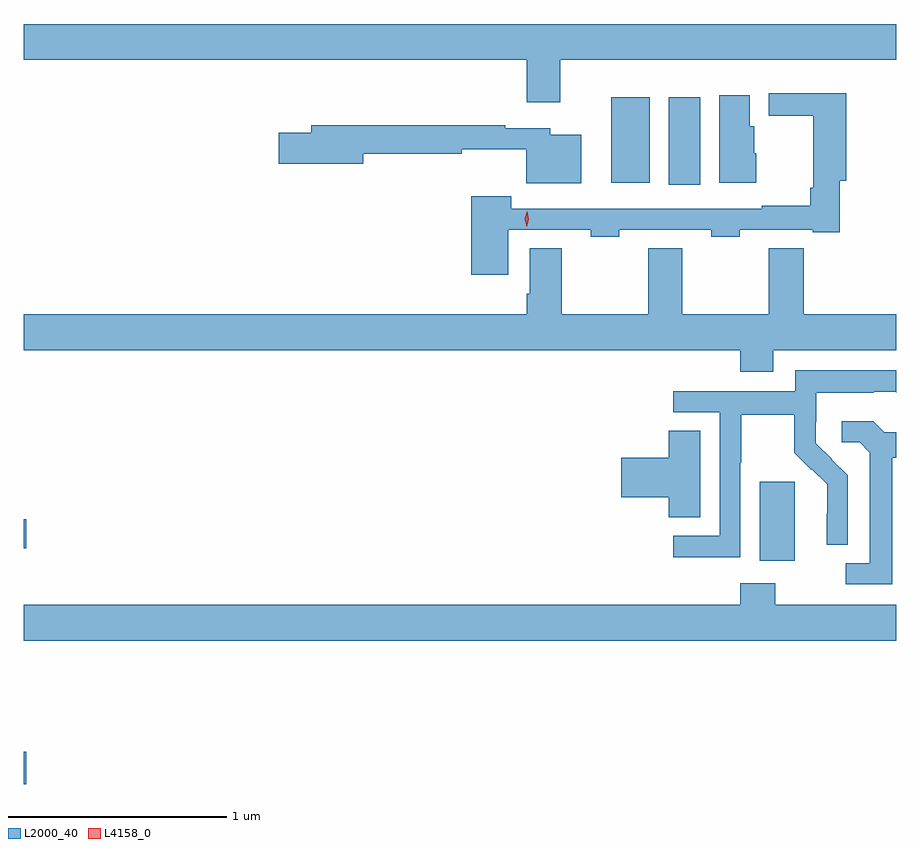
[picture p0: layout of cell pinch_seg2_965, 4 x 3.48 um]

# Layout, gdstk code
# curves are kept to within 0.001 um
import gdstk
lib = gdstk.Library(unit=1e-6, precision=1e-09)
def R(c, l, rs):  # rectangles x0, y0, x1, y1
    for r in rs: c.add(gdstk.rectangle(r[:2], r[2:], *l))
def P(c, l, *ps):  # polygons
    for p in ps: c.add(gdstk.Polygon(p, *l))
L2000_40 = (2000, 40)
L4158_0 = (4158, 0)

pinch_seg2_965 = lib.new_cell('pinch_seg2_965')
R(pinch_seg2_965, L2000_40, [(120.212,629.663,120.223,629.81), (123.587,630.687,123.748,631.048), (120.212,630.743,120.223,630.878), (123.17,632.412,123.313,632.812), (122.906,632.42,123.082,632.812)])
P(pinch_seg2_965, L2000_40, [(122.671,632.984),(124.212,632.984),(124.212,633.148),(120.212,633.148),(120.212,632.984),(122.519,632.984),(122.519,632.79),(122.671,632.79)],
  [(122.434,632.205),(122.811,632.205),(122.811,632.173),(122.943,632.173),(122.943,632.205),(123.363,632.205),(123.363,632.173),(123.495,632.173),(123.495,632.205),(123.83,632.205),(123.83,632.193),(123.953,632.193),(123.953,632.429),(123.983,632.429),(123.983,632.83),(123.627,632.83),(123.627,632.728),(123.832,632.728),(123.832,632.398),(123.817,632.398),(123.817,632.314),(123.595,632.314),(123.595,632.301),(122.447,632.301),(122.447,632.359),(122.264,632.359),(122.264,631.998),(122.434,631.998)],
  [(123.571,632.556),(123.562,632.556),(123.562,632.679),(123.541,632.679),(123.541,632.821),(123.401,632.821),(123.401,632.42),(123.571,632.42)],
  [(122.767,632.641),(122.626,632.641),(122.626,632.67),(122.42,632.67),(122.42,632.683),(121.529,632.683),(121.529,632.649),(121.38,632.649),(121.38,632.507),(121.768,632.507),(121.768,632.554),(122.22,632.554),(122.22,632.573),(122.516,632.573),(122.516,632.417),(122.767,632.417)],
  [(123.649,631.652),(124.212,631.652),(124.212,631.816),(123.788,631.816),(123.788,632.12),(123.628,632.12),(123.628,631.816),(123.23,631.816),(123.23,632.12),(123.076,632.12),(123.076,631.816),(122.678,631.816),(122.678,632.12),(122.531,632.12),(122.531,631.912),(122.519,631.912),(122.519,631.816),(120.212,631.816),(120.212,631.652),(123.497,631.652),(123.497,631.553),(123.649,631.553)],
  [(123.498,631.135),(123.501,631.135),(123.501,631.356),(123.745,631.356),(123.745,631.181),(123.822,631.104),(123.825,631.107),(123.896,631.037),(123.896,630.902),(123.893,630.902),(123.893,630.76),(123.99,630.76),(123.99,631.078),(123.844,631.226),(123.844,631.323),(123.846,631.323),(123.846,631.457),(124.109,631.457),(124.109,631.461),(124.209,631.461),(124.212,631.458),(124.212,631.561),(123.75,631.561),(123.75,631.464),(123.189,631.464),(123.189,631.368),(123.402,631.368),(123.402,630.801),(123.189,630.801),(123.189,630.703),(123.498,630.703)],
  [(124.195,631.16),(124.212,631.16),(124.212,631.275),(124.158,631.275),(124.106,631.327),(123.963,631.327),(123.963,631.23),(124.044,631.23),(124.091,631.183),(124.091,630.675),(123.981,630.675),(123.981,630.579),(124.195,630.579)],
  [(123.313,631.283),(123.17,631.283),(123.17,631.16),(122.952,631.16),(122.952,630.977),(123.17,630.977),(123.17,630.886),(123.313,630.886)],
  [(124.212,630.484),(123.657,630.484),(123.657,630.583),(123.497,630.583),(123.497,630.484),(120.212,630.484),(120.212,630.32),(124.212,630.32)])
P(pinch_seg2_965, L4158_0, [(122.517,632.218),(122.517,632.218),(122.508,632.254),(122.52,632.289),(122.52,632.289),(122.52,632.289),(122.528,632.253),(122.517,632.218)])

lib.write_gds('pinch_seg2_965.gds')
